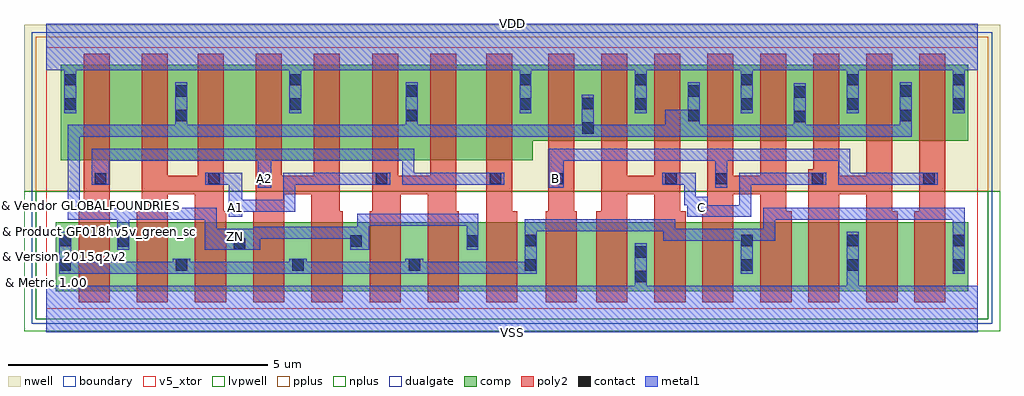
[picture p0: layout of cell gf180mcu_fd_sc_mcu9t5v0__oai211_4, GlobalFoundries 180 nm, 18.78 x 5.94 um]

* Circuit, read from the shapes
.subckt gf180mcu_fd_sc_mcu9t5v0__oai211_4 A1 A2 B C VDD VSS ZN
XM1 ZN A2 n1 VSUBS nfet_05v0 w=1.32u l=0.6u m=4
XM2 n1 A1 ZN VSUBS nfet_05v0 w=1.32u l=0.6u m=4
XM3 n2 B n1 VSUBS nfet_05v0 w=1.32u l=0.6u
XM4 VSS C n2 VSUBS nfet_05v0 w=1.32u l=0.6u
XM5 n3 C VSS VSUBS nfet_05v0 w=1.32u l=0.6u
XM6 n1 B n3 VSUBS nfet_05v0 w=1.32u l=0.6u
XM7 n4 B n1 VSUBS nfet_05v0 w=1.32u l=0.6u
XM8 VSS C n4 VSUBS nfet_05v0 w=1.32u l=0.6u
XM9 n5 C VSS VSUBS nfet_05v0 w=1.32u l=0.6u
XM10 n1 B n5 VSUBS nfet_05v0 w=1.32u l=0.6u
XM11 n6 A2 VDD n7 pfet_05v0 w=1.83u l=0.5u
XM12 ZN A1 n6 n7 pfet_05v0 w=1.83u l=0.5u
XM13 n8 A1 ZN n7 pfet_05v0 w=1.83u l=0.5u
XM14 VDD A2 n8 n7 pfet_05v0 w=1.83u l=0.5u
XM15 n9 A2 VDD n7 pfet_05v0 w=1.83u l=0.5u
XM16 ZN A1 n9 n7 pfet_05v0 w=1.83u l=0.5u
XM17 n10 A1 ZN n7 pfet_05v0 w=1.83u l=0.5u
XM18 VDD A2 n10 n7 pfet_05v0 w=1.83u l=0.5u
XM19 ZN B VDD n7 pfet_05v0 w=1.46u l=0.5u m=4
XM20 VDD C ZN n7 pfet_05v0 w=1.46u l=0.5u m=4
.ends

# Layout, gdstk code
import gdstk
lib = gdstk.Library(unit=1e-6, precision=1e-09)
def R(c, l, rs):  # rectangles x0, y0, x1, y1
    for r in rs: c.add(gdstk.rectangle(r[:2], r[2:], *l))
def A(c, l, x, y, w, h, nx, ny, dx, dy):  # array of equal rectangles
    R(c, l, [(x+i*dx, y+j*dy, x+i*dx+w, y+j*dy+h) for i in range(nx) for j in range(ny)])
def P(c, l, *ps):  # polygons
    for p in ps: c.add(gdstk.Polygon(p, *l))
boundary = (0, 0)
nwell = (21, 0)
comp = (22, 0)
poly2 = (30, 0)
pplus = (31, 0)
nplus = (32, 0)
contact = (33, 0)
metal1 = (34, 0)
dualgate = (55, 0)
v5_xtor = (112, 1)
lvpwell = (204, 0)

gf180mcu_fd_sc_mcu9t5v0_ = lib.new_cell('gf180mcu_fd_sc_mcu9t5v0__oai211_4')
R(gf180mcu_fd_sc_mcu9t5v0_, boundary, [(0,0,17.92,5.04)])
R(gf180mcu_fd_sc_mcu9t5v0_, nwell, [(-0.43,2.265,18.35,5.47)])
R(gf180mcu_fd_sc_mcu9t5v0_, comp, [(0.18,0.345,17.74,1.665)])
P(gf180mcu_fd_sc_mcu9t5v0_, comp, [(0.28,2.865),(0.28,4.695),(17.74,4.695),(17.74,3.235),(9.36,3.235),(9.36,2.865)])
P(gf180mcu_fd_sc_mcu9t5v0_, poly2, [(0.62,0.125),(0.62,1.885),(0.72,1.885),(0.72,4.915),(1.22,4.915),(1.22,0.125)],
  [(1.74,0.125),(1.74,1.885),(1.84,1.885),(1.84,4.915),(2.34,4.915),(2.34,2.565),(2.91,2.565),(2.91,4.915),(3.41,4.915),(3.41,1.885),(3.46,1.885),(3.46,0.125),(2.86,0.125),(2.86,2.205),(2.34,2.205),(2.34,0.125)],
  [(3.98,0.125),(3.98,1.885),(4.03,1.885),(4.03,4.915),(4.53,4.915),(4.53,2.565),(5.15,2.565),(5.15,4.915),(5.65,4.915),(5.65,1.885),(5.7,1.885),(5.7,0.125),(5.1,0.125),(5.1,2.205),(4.58,2.205),(4.58,0.125)],
  [(6.22,0.125),(6.22,1.885),(6.27,1.885),(6.27,4.915),(6.77,4.915),(6.77,2.565),(7.39,2.565),(7.39,4.915),(7.89,4.915),(7.89,1.885),(7.94,1.885),(7.94,0.125),(7.34,0.125),(7.34,2.205),(6.82,2.205),(6.82,0.125)],
  [(8.46,0.125),(8.46,4.915),(8.96,4.915),(8.96,1.885),(9.06,1.885),(9.06,0.125)],
  [(9.61,0.125),(9.61,1.885),(9.66,1.885),(9.66,4.915),(10.16,4.915),(10.16,1.885),(10.21,1.885),(10.21,0.125)],
  [(10.58,0.125),(10.58,1.885),(10.68,1.885),(10.68,4.915),(11.18,4.915),(11.18,2.565),(11.7,2.565),(11.7,4.915),(12.2,4.915),(12.2,1.885),(12.3,1.885),(12.3,0.125),(11.7,0.125),(11.7,2.205),(11.18,2.205),(11.18,0.125)],
  [(12.62,0.125),(12.62,1.885),(12.72,1.885),(12.72,4.915),(13.22,4.915),(13.22,2.565),(13.74,2.565),(13.74,4.915),(14.24,4.915),(14.24,1.885),(14.34,1.885),(14.34,0.125),(13.74,0.125),(13.74,2.205),(13.22,2.205),(13.22,0.125)],
  [(14.66,0.125),(14.66,2.685),(14.76,2.685),(14.76,4.915),(15.26,4.915),(15.26,2.565),(15.78,2.565),(15.78,4.915),(16.28,4.915),(16.28,1.885),(16.38,1.885),(16.38,0.125),(15.78,0.125),(15.78,2.205),(15.26,2.205),(15.26,0.125)],
  [(16.7,0.125),(16.7,1.885),(16.8,1.885),(16.8,4.915),(17.3,4.915),(17.3,0.125)])
R(gf180mcu_fd_sc_mcu9t5v0_, pplus, [(-0.2,2.265,18.12,5.24)])
R(gf180mcu_fd_sc_mcu9t5v0_, nplus, [(-0.2,-0.2,18.12,2.265)])
A(gf180mcu_fd_sc_mcu9t5v0_, contact, 0.25, 0.74, 0.22, 0.22, 5, 1, 2.24, 0)
A(gf180mcu_fd_sc_mcu9t5v0_, contact, 13.37, 0.74, 0.22, 0.22, 3, 2, 2.04, 0.47)
A(gf180mcu_fd_sc_mcu9t5v0_, contact, 11.33, 3.83, 0.22, 0.22, 4, 2, 2.04, 0.47)
R(gf180mcu_fd_sc_mcu9t5v0_, contact, [(11.33,0.515,11.55,0.735), (11.33,0.985,11.55,1.205), (3.61,1.145,3.83,1.365), (1.37,1.2,1.59,1.42), (5.85,1.2,6.07,1.42), (8.09,1.2,8.31,1.42), (0.25,1.21,0.47,1.43), (9.21,1.21,9.43,1.43), (0.93,2.395,1.15,2.615), (3.12,2.395,3.34,2.615), (4.1,2.395,4.32,2.615), (6.34,2.395,6.56,2.615), (8.53,2.395,8.75,2.615), (9.73,2.395,9.95,2.615), (11.91,2.395,12.13,2.615), (12.88,2.395,13.1,2.615), (14.73,2.395,14.95,2.615), (16.87,2.395,17.09,2.615), (10.31,3.37,10.53,3.59), (14.39,3.595,14.61,3.815), (2.49,3.61,2.71,3.83), (6.92,3.61,7.14,3.83), (12.35,3.61,12.57,3.83), (16.43,3.61,16.65,3.83), (0.35,3.83,0.57,4.05), (4.68,3.83,4.9,4.05), (9.11,3.83,9.33,4.05), (10.31,3.84,10.53,4.06), (14.39,4.065,14.61,4.285), (2.49,4.08,2.71,4.3), (6.92,4.08,7.14,4.3), (12.35,4.08,12.57,4.3), (16.43,4.08,16.65,4.3), (0.35,4.3,0.57,4.52), (4.68,4.3,4.9,4.52), (9.11,4.3,9.33,4.52)])
P(gf180mcu_fd_sc_mcu9t5v0_, metal1, [(3.51,1.77),(3.51,2.39),(3.06,2.39),(3.06,2.62),(3.77,2.62),(3.77,2.1),(4.56,2.1),(4.56,2.62),(6.62,2.62),(6.62,2.39),(4.79,2.39),(4.79,1.87),(3.77,1.87),(3.77,1.77)],
  [(4.07,2.33),(4.07,2.85),(1.21,2.85),(1.21,2.39),(0.87,2.39),(0.87,3.08),(7.08,3.08),(7.08,2.62),(8.81,2.62),(8.81,2.39),(6.85,2.39),(6.85,2.85),(4.33,2.85),(4.33,2.33)],
  [(12.33,1.77),(12.33,2),(12.27,2),(12.27,2.39),(11.85,2.39),(11.85,2.62),(12.5,2.62),(12.5,2.155),(12.73,2.155),(12.73,2),(13.335,2),(13.335,2.62),(15.01,2.62),(15.01,2.39),(13.565,2.39),(13.565,1.77)],
  [(1.365,1.14),(1.365,1.72),(0.41,1.72),(0.41,3.54),(2.485,3.54),(2.485,4.36),(2.715,4.36),(2.715,3.54),(6.915,3.54),(6.915,4.36),(7.145,4.36),(7.145,3.54),(10.305,3.54),(10.305,4.12),(10.535,4.12),(10.535,3.54),(11.91,3.54),(11.91,3.83),(12.345,3.83),(12.345,4.36),(12.575,4.36),(12.575,3.54),(14.385,3.54),(14.385,4.345),(14.615,4.345),(14.615,3.54),(16.425,3.54),(16.425,4.36),(16.655,4.36),(16.655,3.31),(0.64,3.31),(0.64,1.95),(3.28,1.95),(3.28,1.54),(3.99,1.54),(3.99,1.58),(5.98,1.58),(5.98,1.83),(8.315,1.83),(8.315,1.14),(8.085,1.14),(8.085,1.6),(6.21,1.6),(6.21,1.14),(5.845,1.14),(5.845,1.35),(4.12,1.35),(4.12,1.14),(3.05,1.14),(3.05,1.72),(1.595,1.72),(1.595,1.14)],
  [(9.67,2.33),(9.67,3.08),(15.47,3.08),(15.47,2.62),(17.15,2.62),(17.15,2.39),(15.24,2.39),(15.24,2.85),(13.105,2.85),(13.105,2.335),(12.875,2.335),(12.875,2.85),(9.955,2.85),(9.955,2.33)],
  [(0.245,0.68),(0.245,1.49),(0.475,1.49),(0.475,0.91),(2.43,0.91),(2.43,0.965),(2.77,0.965),(2.77,0.91),(4.67,0.91),(4.67,0.965),(5.01,0.965),(5.01,0.91),(6.91,0.91),(6.91,0.965),(7.25,0.965),(7.25,0.91),(9.205,0.91),(9.205,1.725),(12.1,1.725),(12.1,1.54),(13.795,1.54),(13.795,1.95),(17.675,1.95),(17.675,0.68),(17.445,0.68),(17.445,1.72),(14.025,1.72),(14.025,1.31),(13.595,1.31),(13.595,0.68),(13.365,0.68),(13.365,1.31),(11.87,1.31),(11.87,1.495),(9.435,1.495),(9.435,0.68)],
  [(0,-0.45),(0,0.45),(11.325,0.45),(11.325,1.265),(11.555,1.265),(11.555,0.45),(15.405,0.45),(15.405,1.49),(15.635,1.49),(15.635,0.45),(17.92,0.45),(17.92,-0.45)],
  [(0.345,3.77),(0.345,4.59),(0,4.59),(0,5.49),(17.92,5.49),(17.92,4.59),(17.675,4.59),(17.675,3.77),(17.445,3.77),(17.445,4.59),(15.635,4.59),(15.635,3.77),(15.405,3.77),(15.405,4.59),(13.595,4.59),(13.595,3.77),(13.365,3.77),(13.365,4.59),(11.555,4.59),(11.555,3.77),(11.325,3.77),(11.325,4.59),(9.335,4.59),(9.335,3.77),(9.105,3.77),(9.105,4.59),(4.905,4.59),(4.905,3.77),(4.675,3.77),(4.675,4.59),(0.575,4.59),(0.575,3.77)])
R(gf180mcu_fd_sc_mcu9t5v0_, dualgate, [(-0.28,-0.28,18.2,5.32)])
R(gf180mcu_fd_sc_mcu9t5v0_, v5_xtor, [(0,0,17.92,5.04)])
R(gf180mcu_fd_sc_mcu9t5v0_, lvpwell, [(-0.43,-0.43,18.35,2.265)])
gf180mcu_fd_sc_mcu9t5v0_.add(gdstk.Label('A1', (3.64,1.96), layer=34, texttype=10))
gf180mcu_fd_sc_mcu9t5v0_.add(gdstk.Label('A2', (4.2,2.52), layer=34, texttype=10))
gf180mcu_fd_sc_mcu9t5v0_.add(gdstk.Label('B', (9.8,2.52), layer=34, texttype=10))
gf180mcu_fd_sc_mcu9t5v0_.add(gdstk.Label('C', (12.6,1.96), layer=34, texttype=10))
gf180mcu_fd_sc_mcu9t5v0_.add(gdstk.Label('VDD', (8.96,5.49), layer=34, texttype=10))
gf180mcu_fd_sc_mcu9t5v0_.add(gdstk.Label('VSS', (8.96,-0.45), layer=34, texttype=10))
gf180mcu_fd_sc_mcu9t5v0_.add(gdstk.Label('ZN', (3.64,1.4), layer=34, texttype=10))
gf180mcu_fd_sc_mcu9t5v0_.add(gdstk.Label('& Vendor GLOBALFOUNDRIES', (0,2), layer=63, texttype=63))
gf180mcu_fd_sc_mcu9t5v0_.add(gdstk.Label('& Product GF018hv5v_green_sc9', (0,1.5), layer=63, texttype=63))
gf180mcu_fd_sc_mcu9t5v0_.add(gdstk.Label('& Version 2015q2v2', (0,1), layer=63, texttype=63))
gf180mcu_fd_sc_mcu9t5v0_.add(gdstk.Label('& Metric 1.00', (0,0.5), layer=63, texttype=63))

lib.write_gds('gf180mcu_fd_sc_mcu9t5v0__oai211_4.gds')
